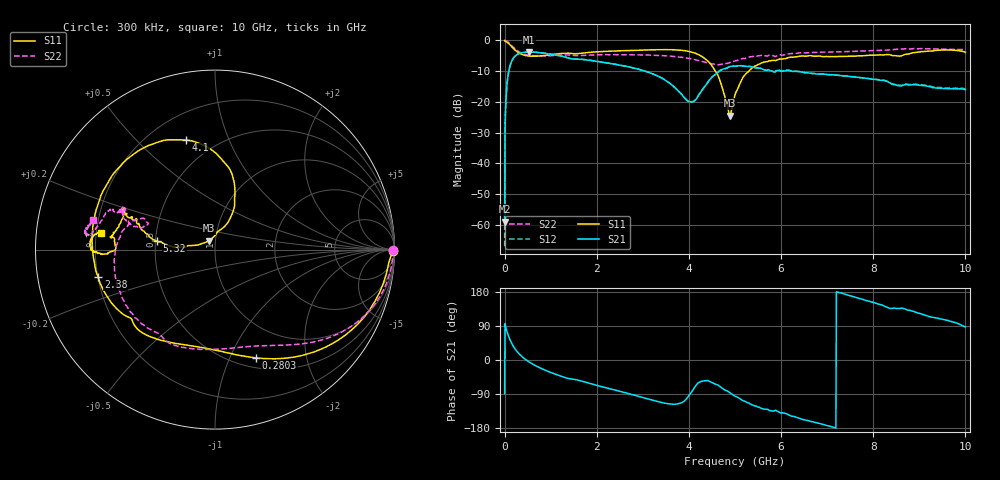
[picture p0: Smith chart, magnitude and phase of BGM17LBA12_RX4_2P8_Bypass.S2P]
!Agilent Technologies,E5071C,MY46316587,B.13.01
!Date: Fri Dec 08 11:08:45 2017
!Data & Calibration Information:
!Freq	S11:SOLT2(ON)	S21:SOLT2(ON)	S12:SOLT2(ON)	S22:SOLT2(ON)
!PortZ  Port1:50+j0  Port2:50+j0
!Above PortZ is port z conversion or system Z0 setting when saving the data.
!When reading, reference impedance value at option line is always used.
# Hz S dB R 50
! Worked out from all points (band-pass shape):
!   1001 points, 300 kHz to 10 GHz, reference 50 ohm
!   highest |S21| = -3.81 dB at 530.3 MHz (marker M1); lowest = -58.9 dB at 300 kHz (marker M2)
!   |S21| within 3 dB of the highest: 153.8 MHz to 1.985 GHz (1.832 GHz wide, 171 % of centre)
!   lowest |S11| = -24.4 dB at 4.89 GHz (marker M3), VSWR 1.13, Z = 46.6 + j4.66 ohm
!   |S11| at or under -10 dB: 4.574 GHz to 5.303 GHz (729 MHz wide, 14.8 % of centre)
!   |S22| runs from -8.0 to 0.0 dB; largest |S21 - S12| = 0.0064
!   S11 on the Smith chart (normalised r, x): 300 kHz: open; 280.3 MHz: 0.61, -1.26; 2.38 GHz: 0.20, -0.11; 4.1 GHz: 0.35, +0.71; 5.32 GHz: 0.51, +0.05; 10 GHz: 0.22, +0.07
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300000  -0.08 -0.3  -58.91 -88.4  -66.93 -32.9  -0.05 -0.2
6.02982e7  -0.68 -21.2  -13.18 71.5  -13.11 71.5  -0.41 -16.2
7.02979e7  -0.80 -24.4  -11.96 68.0  -11.91 68.0  -0.52 -18.6
1.402958e8  -1.86 -43.7  -7.31 47.5  -7.27 47.4  -1.51 -33.2
2.802916e8  -3.79 -69.1  -4.54 20.8  -4.54 20.7  -3.39 -51.6
5.302841e8  -5.13 -93.5  -3.81 -5.0  -3.80 -5.1  -4.87 -71.2
1.030269e9  -4.62 -120.6  -4.58 -34.3  -4.55 -34.4  -4.98 -100.2
1.67025e9  -4.18 -143.1  -6.21 -55.6  -6.16 -55.6  -4.94 -125.7
2.380229e9  -3.50 -166.8  -7.78 -78.8  -7.73 -78.4  -4.68 -144.7
3.3402e9  -3.05 151.3  -11.76 -110.0  -11.76 -109.7  -4.94 -171.7
3.790186e9  -3.18 125.7  -16.77 -114.6  -16.73 -114.2  -5.46 172.4
4.100177e9  -4.00 104.7  -19.89 -76.4  -19.81 -76.1  -6.17 161.8
4.580163e9  -10.15 69.4  -11.07 -63.9  -11.08 -63.8  -7.79 158.1
4.890153e9  -24.45 123.7  -8.54 -86.6  -8.54 -86.5  -7.21 164.4
5.00015e9  -17.78 169.8  -8.44 -95.2  -8.42 -95.0  -6.75 163.8
5.160145e9  -12.41 175.9  -8.32 -106.4  -8.29 -106.2  -5.94 162.6
5.32014e9  -9.69 171.7  -8.50 -115.3  -8.47 -115.1  -5.40 161.0
5.640131e9  -7.07 161.8  -9.67 -129.7  -9.64 -129.5  -5.02 155.9
6.6701e9  -5.03 156.1  -10.80 -162.8  -10.76 -162.6  -3.98 160.2
8.34005e9  -4.64 172.8  -13.65 137.1  -13.56 137.1  -3.14 172.7
8.890033e9  -4.01 -177.5  -14.42 127.4  -14.21 127.5  -2.68 172.5
1e10  -3.88 171.6  -16.06 87.2  -15.81 88.0  -3.08 166.5
